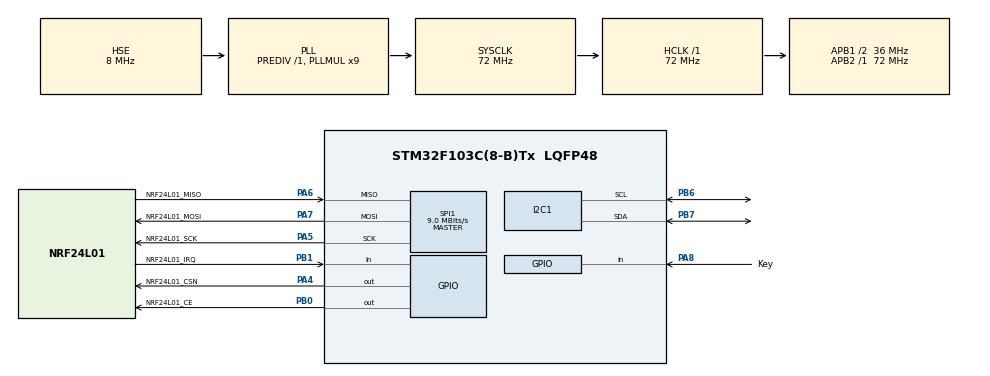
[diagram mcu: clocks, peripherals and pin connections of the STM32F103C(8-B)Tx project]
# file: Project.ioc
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I2C1.I2C_Mode=I2C_Fast
Mcu.Family=STM32F1
Mcu.Name=STM32F103C(8-B)Tx
Mcu.Package=LQFP48
NVIC.PriorityGroup=NVIC_PRIORITYGROUP_4
PA13.Mode=Serial_Wire
PA13.Signal=SYS_JTMS-SWDIO
PA14.Mode=Serial_Wire
PA14.Signal=SYS_JTCK-SWCLK
PA4.GPIO_Label=NRF24L01_CSN
PA4.GPIO_Speed=GPIO_SPEED_FREQ_HIGH
PA4.Signal=GPIO_Output
PA5.GPIO_Label=NRF24L01_SCK
PA5.Mode=Full_Duplex_Master
PA5.Signal=SPI1_SCK
PA6.GPIO_Label=NRF24L01_MISO
PA6.Mode=Full_Duplex_Master
PA6.Signal=SPI1_MISO
PA7.GPIO_Label=NRF24L01_MOSI
PA7.Mode=Full_Duplex_Master
PA7.Signal=SPI1_MOSI
PA8.GPIO_Label=Key
PA8.GPIO_PuPd=GPIO_PULLUP
PA8.Signal=GPIO_Input
PB0.GPIO_Label=NRF24L01_CE
PB0.GPIO_Speed=GPIO_SPEED_FREQ_HIGH
PB0.Signal=GPIO_Output
PB1.GPIO_Label=NRF24L01_IRQ
PB1.GPIO_PuPd=GPIO_PULLUP
PB1.Signal=GPIO_Input
PB6.Mode=I2C
PB6.Signal=I2C1_SCL
PB7.Mode=I2C
PB7.Signal=I2C1_SDA
PC14-OSC32_IN.Mode=LSE-External-Oscillator
PC14-OSC32_IN.Signal=RCC_OSC32_IN
PC15-OSC32_OUT.Mode=LSE-External-Oscillator
PC15-OSC32_OUT.Signal=RCC_OSC32_OUT
PD0-OSC_IN.Mode=HSE-External-Oscillator
PD0-OSC_IN.Signal=RCC_OSC_IN
PD1-OSC_OUT.Mode=HSE-External-Oscillator
PD1-OSC_OUT.Signal=RCC_OSC_OUT
ProjectManager.HeapSize=0x200
ProjectManager.StackSize=0x400
ProjectManager.TargetToolchain=MDK-ARM V5.32
RCC.AHBFreq_Value=72000000
RCC.APB1CLKDivider=RCC_HCLK_DIV2
RCC.APB1Freq_Value=36000000
RCC.APB1TimFreq_Value=72000000
RCC.APB2Freq_Value=72000000
RCC.APB2TimFreq_Value=72000000
RCC.HCLKFreq_Value=72000000
RCC.PLLMUL=RCC_PLL_MUL9
RCC.PLLSourceVirtual=RCC_PLLSOURCE_HSE
RCC.SYSCLKFreq_VALUE=72000000
RCC.SYSCLKSource=RCC_SYSCLKSOURCE_PLLCLK
RCC.USBFreq_Value=72000000
SPI1.BaudRatePrescaler=SPI_BAUDRATEPRESCALER_8
SPI1.CalculateBaudRate=9.0 MBits/s
SPI1.Direction=SPI_DIRECTION_2LINES
SPI1.Mode=SPI_MODE_MASTER
SPI1.VirtualType=VM_MASTER
board=custom

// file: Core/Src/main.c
/* USER CODE BEGIN Header */
/****
	* 本程序由MrWei95开源共享
	* 部分代码由STM32CubeMX生成
	*/
/* USER CODE END Header */
#include "main.h"
#include "i2c.h"
#include "spi.h"
#include "gpio.h"

/* USER CODE BEGIN Includes */

#include "Key/Key.h"
#include "OLED/OLED.h"
#include "NRF24L01/NRF24L01.h"

/* USER CODE END Includes */

/* USER CODE BEGIN PM */

void Check_RXdata(uint8_t Buf[]);

/* USER CODE END PM */

/* USER CODE BEGIN PV */

uint8_t Flag = 0;
uint8_t KeyNum;

/* USER CODE END PV */

void SystemClock_Config(void);

int main(void)
{

  /* MCU Configuration--------------------------------------------------------*/

  /* Reset of all peripherals, Initializes the Flash interface and the Systick. */
  HAL_Init();

  /* Configure the system clock */
  SystemClock_Config();

  /* Initialize all configured peripherals */
  MX_GPIO_Init();
  MX_I2C1_Init();
  MX_SPI1_Init();
  /* USER CODE BEGIN 2 */

	OLED_Init();
	NRF24L01_Init();

  /* USER CODE END 2 */

  /* Infinite loop */
  /* USER CODE BEGIN WHILE */
	while (1)
	{
		#ifdef	NRF24L01_TX_MODE
		uint8_t Wireless_TXdata[32] = {0xFF, 0xFE, 0x00, 0x00, 0xEE, 0xED};
		OLED_ShowString(0, 0, "TX Mode", OLED_8X16);
		OLED_Update();
		while (1)
		{
			KeyNum = Key_GetNum();
			if (KeyNum)
			{
				NRF24L01_Send(Wireless_TXdata);
				OLED_ShowHexNum(0, 32, Wireless_TXdata[2], 2, OLED_8X16);
				OLED_ShowHexNum(30, 32, Wireless_TXdata[3], 2, OLED_8X16);
				OLED_Update();
				Wireless_TXdata[2]++;
				Wireless_TXdata[3]++;
			}
		}
		#endif

		#ifdef	NRF24L01_RX_MODE
		uint8_t Wireless_RXBuf[32] = {0x00, 0x00, 0x00, 0x00, 0x00, 0x00};
		OLED_ShowString(0, 0, "RX Mode", OLED_8X16);
		OLED_Update();
		while (1)
		{
			if(NRF24L01_R_IRQ() == 0)
			{
				NRF24L01_Receive(Wireless_RXBuf);
				Check_RXdata(Wireless_RXBuf);

				if (Flag == 1)
				{
					Flag = 0;
					OLED_ShowHexNum(0, 16, Wireless_RXBuf[0], 2, OLED_8X16);
					OLED_ShowHexNum(30, 16, Wireless_RXBuf[1], 2, OLED_8X16);
					OLED_ShowHexNum(0, 32, Wireless_RXBuf[2], 2, OLED_8X16);
					OLED_ShowHexNum(30, 32, Wireless_RXBuf[3], 2, OLED_8X16);
					OLED_ShowHexNum(0, 48, Wireless_RXBuf[4], 2, OLED_8X16);
					OLED_ShowHexNum(30, 48, Wireless_RXBuf[5], 2, OLED_8X16);
					OLED_Update();
				}
			}
		}
		#endif
    /* USER CODE END WHILE */

	}
}

void SystemClock_Config(void)
{
  RCC_OscInitTypeDef RCC_OscInitStruct = {0};
  RCC_ClkInitTypeDef RCC_ClkInitStruct = {0};

  /** Initializes the RCC Oscillators according to the specified parameters
  * in the RCC_OscInitTypeDef structure.
  */
  RCC_OscInitStruct.OscillatorType = RCC_OSCILLATORTYPE_HSE;
  RCC_OscInitStruct.HSEState = RCC_HSE_ON;
  RCC_OscInitStruct.HSEPredivValue = RCC_HSE_PREDIV_DIV1;
  RCC_OscInitStruct.HSIState = RCC_HSI_ON;
  RCC_OscInitStruct.PLL.PLLState = RCC_PLL_ON;
  RCC_OscInitStruct.PLL.PLLSource = RCC_PLLSOURCE_HSE;
  RCC_OscInitStruct.PLL.PLLMUL = RCC_PLL_MUL9;
  if (HAL_RCC_OscConfig(&RCC_OscInitStruct) != HAL_OK)
  {
    Error_Handler();
  }

  /** Initializes the CPU, AHB and APB buses clocks
  */
  RCC_ClkInitStruct.ClockType = RCC_CLOCKTYPE_HCLK|RCC_CLOCKTYPE_SYSCLK
                              |RCC_CLOCKTYPE_PCLK1|RCC_CLOCKTYPE_PCLK2;
  RCC_ClkInitStruct.SYSCLKSource = RCC_SYSCLKSOURCE_PLLCLK;
  RCC_ClkInitStruct.AHBCLKDivider = RCC_SYSCLK_DIV1;
  RCC_ClkInitStruct.APB1CLKDivider = RCC_HCLK_DIV2;
  RCC_ClkInitStruct.APB2CLKDivider = RCC_HCLK_DIV1;

  if (HAL_RCC_ClockConfig(&RCC_ClkInitStruct, FLASH_LATENCY_2) != HAL_OK)
  {
    Error_Handler();
  }
}

/* USER CODE BEGIN 4 */

/****
	* 函    数：校验数据包
	* 参    数：Buf[]：接收的数据包
	* 返 回 值：无
	* 说    明：包头：FF FE 包尾：EE ED
	*/
void Check_RXdata(uint8_t Buf[])
{
	if (Buf[0] == 0xFF && Buf[1] == 0xFE)
	{
		if (Buf[4] == 0xEE && Buf[5] == 0xED)
		{
			Flag = 1;
		}
	}
}

/* USER CODE END 4 */

void Error_Handler(void)
{
  __disable_irq();
  while (1)
  {
  }
}
